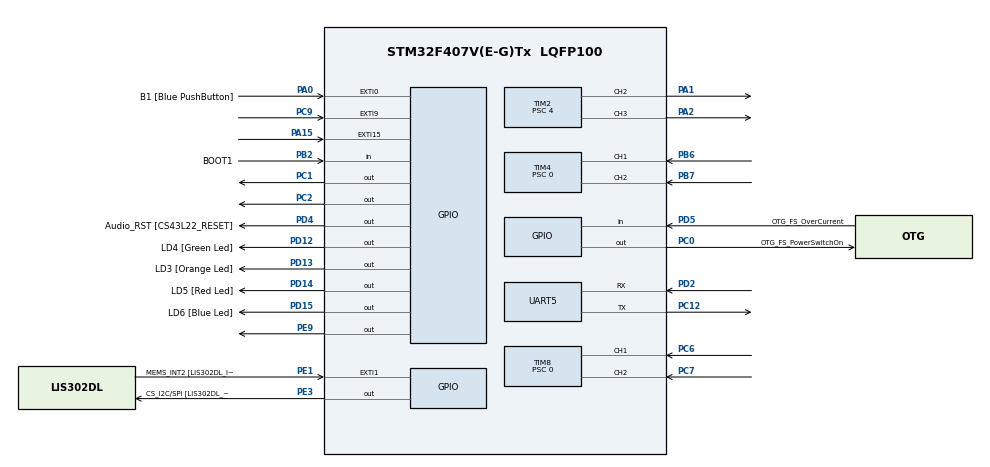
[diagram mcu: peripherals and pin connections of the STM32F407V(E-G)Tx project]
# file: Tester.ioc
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Mcu.Family=STM32F4
Mcu.Name=STM32F407V(E-G)Tx
Mcu.Package=LQFP100
NVIC.EXTI15_10_IRQn=true\:0\:0\:false\:false\:true\:true\:true\:true
NVIC.EXTI9_5_IRQn=true\:0\:0\:false\:false\:true\:true\:true\:true
NVIC.PriorityGroup=NVIC_PRIORITYGROUP_0
NVIC.TIM4_IRQn=true\:0\:0\:false\:false\:true\:true\:true\:true
PA0-WKUP.GPIO_Label=B1 [Blue PushButton]
PA0-WKUP.GPIO_ModeDefaultEXTI=GPIO_MODE_EVT_RISING
PA0-WKUP.GPIO_PuPd=GPIO_NOPULL
PA0-WKUP.Signal=GPXTI0
PA1.GPIO_PuPd=GPIO_NOPULL
PA1.GPIO_Speed=GPIO_SPEED_FREQ_VERY_HIGH
PA1.Signal=S_TIM2_CH2
PA13.GPIO_Label=SWDIO
PA13.Mode=Serial_Wire
PA13.Signal=SYS_JTMS-SWDIO
PA14.GPIO_Label=SWCLK
PA14.Mode=Serial_Wire
PA14.Signal=SYS_JTCK-SWCLK
PA15.GPIO_ModeDefaultEXTI=GPIO_MODE_IT_FALLING
PA15.GPIO_PuPd=GPIO_PULLUP
PA15.Signal=GPXTI15
PA2.GPIO_PuPd=GPIO_NOPULL
PA2.GPIO_Speed=GPIO_SPEED_FREQ_VERY_HIGH
PA2.Signal=S_TIM2_CH3
PB2.GPIO_Label=BOOT1
PB2.GPIO_Mode=GPIO_MODE_INPUT
PB2.GPIO_PuPd=GPIO_NOPULL
PB2.Signal=GPIO_Input
PB6.GPIO_PuPd=GPIO_PULLUP
PB6.GPIO_Speed=GPIO_SPEED_FREQ_VERY_HIGH
PB6.Signal=S_TIM4_CH1
PB7.GPIO_PuPd=GPIO_PULLUP
PB7.GPIO_Speed=GPIO_SPEED_FREQ_VERY_HIGH
PB7.Signal=S_TIM4_CH2
PC0.GPIO_Label=OTG_FS_PowerSwitchOn
PC0.GPIO_PuPd=GPIO_NOPULL
PC0.GPIO_Speed=GPIO_SPEED_FREQ_LOW
PC0.PinState=GPIO_PIN_SET
PC0.Signal=GPIO_Output
PC1.GPIO_ModeDefaultOutputPP=GPIO_MODE_OUTPUT_PP
PC1.GPIO_PuPd=GPIO_PULLDOWN
PC1.GPIO_Speed=GPIO_SPEED_FREQ_VERY_HIGH
PC1.PinState=GPIO_PIN_SET
PC1.Signal=GPIO_Output
PC12.Mode=Asynchronous
PC12.Signal=UART5_TX
PC14-OSC32_IN.GPIO_Label=PC14-OSC32_IN
PC14-OSC32_IN.Mode=LSE-External-Oscillator
PC14-OSC32_IN.Signal=RCC_OSC32_IN
PC15-OSC32_OUT.GPIO_Label=PC15-OSC32_OUT
PC15-OSC32_OUT.Mode=LSE-External-Oscillator
PC15-OSC32_OUT.Signal=RCC_OSC32_OUT
PC2.GPIO_ModeDefaultOutputPP=GPIO_MODE_OUTPUT_PP
PC2.GPIO_PuPd=GPIO_PULLDOWN
PC2.Signal=GPIO_Output
PC6.GPIO_PuPd=GPIO_PULLUP
PC6.GPIO_Speed=GPIO_SPEED_FREQ_VERY_HIGH
PC6.Signal=S_TIM8_CH1
PC7.GPIO_PuPd=GPIO_PULLUP
PC7.GPIO_Speed=GPIO_SPEED_FREQ_VERY_HIGH
PC7.Signal=S_TIM8_CH2
PC9.GPIO_ModeDefaultEXTI=GPIO_MODE_IT_FALLING
PC9.GPIO_PuPd=GPIO_PULLUP
PC9.Signal=GPXTI9
PD12.GPIO_Label=LD4 [Green Led]
PD12.GPIO_PuPd=GPIO_NOPULL
PD12.GPIO_Speed=GPIO_SPEED_FREQ_LOW
PD12.Signal=GPIO_Output
PD13.GPIO_Label=LD3 [Orange Led]
PD13.GPIO_PuPd=GPIO_NOPULL
PD13.GPIO_Speed=GPIO_SPEED_FREQ_LOW
PD13.Signal=GPIO_Output
PD14.GPIO_Label=LD5 [Red Led]
PD14.GPIO_PuPd=GPIO_NOPULL
PD14.GPIO_Speed=GPIO_SPEED_FREQ_LOW
PD14.Signal=GPIO_Output
PD15.GPIO_Label=LD6 [Blue Led]
PD15.GPIO_PuPd=GPIO_NOPULL
PD15.GPIO_Speed=GPIO_SPEED_FREQ_LOW
PD15.Signal=GPIO_Output
PD2.Mode=Asynchronous
PD2.Signal=UART5_RX
PD4.GPIO_Label=Audio_RST [CS43L22_RESET]
PD4.GPIO_PuPd=GPIO_NOPULL
PD4.GPIO_Speed=GPIO_SPEED_FREQ_LOW
PD4.Signal=GPIO_Output
PD5.GPIO_Label=OTG_FS_OverCurrent
PD5.GPIO_Mode=GPIO_MODE_INPUT
PD5.GPIO_PuPd=GPIO_NOPULL
PD5.Signal=GPIO_Input
PE1.GPIO_Label=MEMS_INT2 [LIS302DL_INT2]
PE1.GPIO_ModeDefaultEXTI=GPIO_MODE_EVT_RISING
PE1.GPIO_PuPd=GPIO_NOPULL
PE1.Signal=GPXTI1
PE3.GPIO_Label=CS_I2C/SPI [LIS302DL_CS_I2C/SPI]
PE3.GPIO_PuPd=GPIO_NOPULL
PE3.GPIO_Speed=GPIO_SPEED_FREQ_LOW
PE3.Signal=GPIO_Output
PE9.GPIO_ModeDefaultOutputPP=GPIO_MODE_OUTPUT_PP
PE9.GPIO_PuPd=GPIO_PULLDOWN
PE9.Signal=GPIO_Output
PH0-OSC_IN.GPIO_Label=PH0-OSC_IN
PH0-OSC_IN.Mode=HSE-External-Oscillator
PH0-OSC_IN.Signal=RCC_OSC_IN
PH1-OSC_OUT.GPIO_Label=PH1-OSC_OUT
PH1-OSC_OUT.Mode=HSE-External-Oscillator
PH1-OSC_OUT.Signal=RCC_OSC_OUT
ProjectManager.HeapSize=0x200
ProjectManager.StackSize=0x400
ProjectManager.TargetToolchain=STM32CubeIDE
RCC.48MHZClocksFreq_Value=48000000
RCC.AHBFreq_Value=168000000
RCC.APB1CLKDivider=RCC_HCLK_DIV4
RCC.APB1Freq_Value=42000000
RCC.APB1TimFreq_Value=84000000
RCC.APB2CLKDivider=RCC_HCLK_DIV2
RCC.APB2Freq_Value=84000000
RCC.APB2TimFreq_Value=168000000
RCC.CortexFreq_Value=168000000
RCC.HCLKFreq_Value=168000000
RCC.HSE_VALUE=8000000
RCC.HSI_VALUE=16000000
RCC.PLLM=8
RCC.PLLN=336
RCC.PLLQ=7
RCC.PLLSourceVirtual=RCC_PLLSOURCE_HSE
RCC.SYSCLKFreq_VALUE=168000000
RCC.SYSCLKSource=RCC_SYSCLKSOURCE_PLLCLK
RCC.VCOOutputFreq_Value=336000000
SH.S_TIM2_CH2.0=TIM2_CH2,PWM Generation2 CH2
SH.S_TIM2_CH3.0=TIM2_CH3,PWM Generation3 CH3
SH.S_TIM4_CH1.0=TIM4_CH1,Encoder_Interface
SH.S_TIM4_CH2.0=TIM4_CH2,Encoder_Interface
SH.S_TIM8_CH1.0=TIM8_CH1,Encoder_Interface
SH.S_TIM8_CH2.0=TIM8_CH2,Encoder_Interface
TIM2.Channel-PWM\ Generation2\ CH2=TIM_CHANNEL_2
TIM2.Channel-PWM\ Generation3\ CH3=TIM_CHANNEL_3
TIM2.Period=1000
TIM2.Prescaler=4
TIM4.AutoReloadPreload=TIM_AUTORELOAD_PRELOAD_DISABLE
TIM4.ClockDivision=TIM_CLOCKDIVISION_DIV1
TIM4.EncoderMode=TIM_ENCODERMODE_TI1
TIM4.IC1Filter=15
TIM4.IC1Prescaler=TIM_ICPSC_DIV1
TIM4.IC2Filter=15
TIM4.IC2Prescaler=TIM_ICPSC_DIV1
TIM4.Prescaler=0
TIM4.TIM_MasterOutputTrigger=TIM_TRGO_OC1
TIM5.Prescaler=42
TIM8.AutoReloadPreload=TIM_AUTORELOAD_PRELOAD_DISABLE
TIM8.ClockDivision=TIM_CLOCKDIVISION_DIV1
TIM8.IC1Filter=15
TIM8.IC1Prescaler=TIM_ICPSC_DIV1
TIM8.IC2Filter=15
TIM8.IC2Prescaler=TIM_ICPSC_DIV1
TIM8.Prescaler=0
UART5.VirtualMode=Asynchronous
VP_TIM2_VS_ClockSourceINT.Mode=Internal
VP_TIM5_VS_ClockSourceINT.Mode=Internal
board=STM32F407G-DISC1

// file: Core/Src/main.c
/* USER CODE BEGIN Header */
/**
  ******************************************************************************
  * @file           : main.c
  * @brief          : Main program body
  ******************************************************************************
  * @attention
  *
  * Copyright (c) 2022 STMicroelectronics.
  * All rights reserved.
  *
  * This software is licensed under terms that can be found in the LICENSE file
  * in the root directory of this software component.
  * If no LICENSE file comes with this software, it is provided AS-IS.
  *
  ******************************************************************************
  */
/* USER CODE END Header */
#include "main.h"
#include "tim.h"
#include "usart.h"
#include "gpio.h"

/* USER CODE BEGIN PV */

double l = 0.591;
double m = 0.117;
double M = 0.466;
//double dt = 0.02;
double g = 9.8;
double coef[] ={36.899038, 35.906461, 173.199145, 63.277879};
/* USER CODE END PV */

void SystemClock_Config(void);
/* USER CODE BEGIN PFP */
void moving_of_carriage(int32_t speed)
{
/***********************************************************************************
   Function for speed control of DC motor
   moving_of_carriage(0); // Stop moving
   moving_of_carriage(-number); // Right moving
   moving_of_carriage(+number); // Left moving

   Center is 32000 at TIM8 after calibration
   Left corner is Left edge position = 38000 tics at TIM8
   Right corner is Right edge position = 26000 tics at TIM8
***********************************************************************************/

  LL_GPIO_SetOutputPin(GPIOC, LL_GPIO_PIN_1); // Enable moving

  if (speed == 0)
  {
      LL_GPIO_ResetOutputPin(GPIOC, LL_GPIO_PIN_1); // Stop moving
      LL_TIM_OC_SetCompareCH3(TIM2, 0);             // Stop moving
      LL_TIM_OC_SetCompareCH2(TIM2, 0);             // Stop moving
  }
  else if (speed < 0)
  {
    if (speed < -500)
      speed = -500;
//    else if (speed > -70)
//    		speed = -70;

    LL_TIM_OC_SetCompareCH3(TIM2, 0);            // Right moving
    LL_TIM_OC_SetCompareCH2(TIM2, (-((int32_t)speed)) + 17);       // Right moving

  }
  else if (speed > 0)
  {
    if (speed > 500)
    		speed = 500;
//    else if (speed < 70)
//            speed = 70;

    LL_TIM_OC_SetCompareCH2(TIM2, 0);            // Left moving
    LL_TIM_OC_SetCompareCH3(TIM2, (uint32_t)(speed + 50));        // Left moving
  }

}
void Buzzer_Start(void)
{
	LL_GPIO_TogglePin(GPIOE, LL_GPIO_PIN_9);
	LL_mDelay(100);
	LL_GPIO_TogglePin(GPIOE, LL_GPIO_PIN_9);
	LL_mDelay(100);
	LL_GPIO_TogglePin(GPIOE, LL_GPIO_PIN_9);
	LL_mDelay(100);
	LL_GPIO_TogglePin(GPIOE, LL_GPIO_PIN_9);
	LL_mDelay(100);
}
void Buzzer_setpoint_selection(void)
{
	LL_GPIO_TogglePin(GPIOE, LL_GPIO_PIN_9);
	LL_mDelay(50);
	LL_GPIO_TogglePin(GPIOE, LL_GPIO_PIN_9);
	LL_mDelay(50);
	LL_GPIO_TogglePin(GPIOE, LL_GPIO_PIN_9);
	LL_mDelay(50);
	LL_GPIO_TogglePin(GPIOE, LL_GPIO_PIN_9);
	LL_mDelay(500);
	LL_GPIO_TogglePin(GPIOE, LL_GPIO_PIN_9);
	LL_mDelay(50);
	LL_GPIO_TogglePin(GPIOE, LL_GPIO_PIN_9);
	LL_mDelay(50);
	LL_GPIO_TogglePin(GPIOE, LL_GPIO_PIN_9);
	LL_mDelay(50);
	LL_GPIO_TogglePin(GPIOE, LL_GPIO_PIN_9);
	LL_mDelay(500);
	LL_GPIO_TogglePin(GPIOE, LL_GPIO_PIN_9);
	LL_mDelay(50);
	LL_GPIO_TogglePin(GPIOE, LL_GPIO_PIN_9);
	LL_mDelay(50);
	LL_GPIO_TogglePin(GPIOE, LL_GPIO_PIN_9);
	LL_mDelay(50);
	LL_GPIO_TogglePin(GPIOE, LL_GPIO_PIN_9);
	LL_mDelay(500);
	LL_GPIO_TogglePin(GPIOE, LL_GPIO_PIN_9);
	LL_mDelay(50);
	LL_GPIO_TogglePin(GPIOE, LL_GPIO_PIN_9);
	LL_mDelay(50);
	LL_GPIO_TogglePin(GPIOE, LL_GPIO_PIN_9);
	LL_mDelay(50);
	LL_GPIO_TogglePin(GPIOE, LL_GPIO_PIN_9);
	LL_mDelay(500);
}

void end_sensor_signal(void)
{
	LL_GPIO_SetOutputPin(GPIOD, LD4_Pin|LD3_Pin|LD5_Pin|LD6_Pin);
	LL_mDelay(300);
	LL_GPIO_ResetOutputPin(GPIOD, LD4_Pin|LD3_Pin|LD5_Pin|LD6_Pin);
	LL_mDelay(300);
	LL_GPIO_SetOutputPin(GPIOD, LD4_Pin|LD3_Pin|LD5_Pin|LD6_Pin);
	LL_mDelay(300);
	LL_GPIO_ResetOutputPin(GPIOD, LD4_Pin|LD3_Pin|LD5_Pin|LD6_Pin);
	LL_mDelay(300);
	LL_GPIO_TogglePin(GPIOE, LL_GPIO_PIN_9);
	LL_mDelay(150);
	LL_GPIO_TogglePin(GPIOE, LL_GPIO_PIN_9);
}
void calibration(void)
{
	  LL_GPIO_SetOutputPin(GPIOC, LL_GPIO_PIN_1); // Left moving
	  LL_TIM_OC_SetCompareCH2(TIM2,0);            // Left moving
	  LL_TIM_OC_SetCompareCH3(TIM2,40);           // Left moving
}
void getPosition(uint16_t* car, uint16_t* pend){
	*car = TIM8->CNT; // carridge
	*pend = TIM4->CNT; // pendulume
}

int32_t getCarriageSpeed(){
	TIM5->CNT = 0;
	uint16_t zeroPos = TIM8->CNT;
	while (zeroPos == TIM8->CNT);
	return TIM5->CNT * (TIM8->CNT - zeroPos);
}

int32_t getPendulumSpeed(){
	TIM5->CNT = 0;
	uint16_t zeroPos = TIM4->CNT;
	while (zeroPos == TIM4->CNT);
	return (1000000 / TIM5->CNT * (TIM4->CNT - zeroPos));
}

//double LQRControl(){
//	int32_t x = TIM8->CNT - 32000;
//	int32_t alp = TIM4->CNT - 32000;
//	LL_mDelay(20);
//	int32_t x_new = TIM8->CNT - 32000;
//	int32_t alp_new = TIM4->CNT - 32000;
//	double force = 0;
//	force = (x_new * coef[0] + (x_new - x) / dt * coef[1]) / 13000.0;
//	force += (((alp_new * coef[2] + (alp_new - alp) * coef[3]) / 1000.0) * 2) * 3.14;
//	double ac = 0;
//	ac = force / (M + m);
//	double speed = 0;
//	speed = (((x_new - x) / dt) /13000.0 + (ac * dt)) * 13000.0;
//	return speed;
//}

void mesureCarriageSpeed(){
	uint8_t flag;
			   // отослать данное назад

		  while ((UART5->SR & USART_SR_RXNE) == 0) {} // Ждем пустого регистра
				 flag = UART5->DR;

		  int32_t data = getCarriageSpeed(); // 0

		  while ((UART5->SR & USART_SR_TXE) == 0) {} // Ждем пустого регистра
				  UART5->DR = flag;
		  while ((UART5->SR & USART_SR_TXE) == 0) {} // Ждем пустого регистра
				UART5->DR = data & 0xFF;
		  while ((UART5->SR & USART_SR_TXE) == 0) {} // Ждем пустого регистра
				UART5->DR = (data>>8) & 0xFF;
		  while ((UART5->SR & USART_SR_TXE) == 0) {} // Ждем пустого регистра
				UART5->DR = (data>>16) & 0xFF;
		  while ((UART5->SR & USART_SR_TXE) == 0) {} // Ждем пустого регистра
				UART5->DR = (data>>24) & 0xFF;
}
/* USER CODE END PFP */

int main(void)
{

  /* MCU Configuration--------------------------------------------------------*/

  /* Reset of all peripherals, Initializes the Flash interface and the Systick. */
  LL_APB2_GRP1_EnableClock(LL_APB2_GRP1_PERIPH_SYSCFG);
  LL_APB1_GRP1_EnableClock(LL_APB1_GRP1_PERIPH_PWR);

  /* System interrupt init*/
  NVIC_SetPriorityGrouping(NVIC_PRIORITYGROUP_0);

  /* Configure the system clock */
  SystemClock_Config();

  /* Initialize all configured peripherals */
  MX_GPIO_Init();
  MX_TIM2_Init();
  MX_TIM4_Init();
  MX_TIM8_Init();
  MX_UART5_Init();
  MX_TIM5_Init();
  /* USER CODE BEGIN 2 */
//  Buzzer_Start();

  TIM4->CR1 |= (1<<0); // Start timer 4 to read encoder
  TIM8->CR1 |= (1<<0); // Start timer 8 to read encoder
  TIM5->CR1 |= (1<<0); // Start timer 3
  UART5->CR1 |= USART_CR1_TE | USART_CR1_RE ; // разрешаем приемник и передатчик
  LL_TIM_CC_EnableChannel(TIM2, LL_TIM_CHANNEL_CH2);
  LL_TIM_CC_EnableChannel(TIM2, LL_TIM_CHANNEL_CH3);
  LL_TIM_EnableCounter(TIM2);

  //LL_mDelay(1);
 // LL_GPIO_ResetOutputPin(GPIOC, LL_GPIO_PIN_1);// Stop moving
 // LL_mDelay(1);
  //LL_TIM_OC_SetCompareCH2(TIM2,0);            // Stop
  //LL_TIM_OC_SetCompareCH3(TIM2,0);           // Stop
  //LL_mDelay(1);

  // calibration();

// Old code for Analog-to-Digital Converter. When we tried to use circular potentiometers instead of encoders =)
//**************************************************************************************************************************************
  /*
   LL_ADC_Enable(ADC1); // Start of ADC 1 (ADC1->CR2 |= (1«0);)
   LL_ADC_REG_StartConversionSWStart(ADC1); // Sample from ADC
   while (LL_ADC_IsActiveFlag_EOCS(ADC1) != 1) {;} // Waiting for the end of the sample. When flag will be on
   LL_ADC_ClearFlag_EOCS(ADC1); // Make flag off to allow to make another ample
   setpoint = LL_ADC_REG_ReadConversionData12(ADC1); // Put data from ADC
   setpoint = setpoint/41;

   It was in while section:
   LL_ADC_REG_StartConversionSWStart(ADC1); // Sample from ADC
   while (LL_ADC_IsActiveFlag_EOCS(ADC1) != 1) {;} // Waiting for the end of the sample. When flag will be on
   LL_ADC_ClearFlag_EOCS(ADC1); // Make flag off to allow to make another ample
   ADC_1_data = LL_ADC_REG_ReadConversionData12(ADC1); // Put data from ADC
   ADC_1_data = ADC_1_data / 41;
  */
//**************************************************************************************************************************************

  /* USER CODE END 2 */

  /* Infinite loop */
  /* USER CODE BEGIN WHILE */
  Buzzer_Start();
//  TIM5->CNT = 0;
//  TIM8->CNT = 0;
//  moving_of_carriage(500);
//  LL_mDelay(100);
//  moving_of_carriage(0);
//  uint32_t t = TIM5->CNT;
//  uint32_t e = TIM8->CNT;

  while(abs(TIM4->CNT - 32000) != 500);
  TIM4->CNT = 32000;

//  uint32_t x = 0;
//  uint32_t last_x = 0;
//  uint32_t last_alp = 0;
//  uint32_t lastTimeMicros = 0;

  double PIDp_pend = 30;
  double PIDd_pend = 45;
  double PIDi_pend = 1.6;

//  double PIDp_car = 1;
//  double PIDd_car = 0;
//
  double speed = 0;
  uint32_t neededPos = 32000;
  double err = 0;
  double last_err = 0;
  int32_t last_speed = 0;
  int32_t sum_err = 0;
  double mean_speed[] = {0, 0, 0, 0, 0};
  double mean = 0;
//
//  double b = -18096.64;
//  double k = 766.94;
//  moving_of_carriage(70);
//  LL_mDelay(1000);
//  moving_of_carriage(0);
  while (1)
  {
// Encoders information:
// enc_carriage from edge to edge have 1365 ticks
// enc_pendulum have 1000 ticks for 1 full circle rotation
//	  	long now = TIM5->CNT;
//	  	double dt = 1.0 * (now - lastTimeMicros) / 2000000;
//		double x = (TIM8->CNT - 32000) * 1.0 * (3.14 * 0.012) / 1000;
//		double alp = (TIM4->CNT - 32000) * 1.0 * 2 * 3.14 / 1000;
//		double v = (x - last_x) / dt;
//		double w = (alp - last_alp) /dt;
//		double force = (x * coef[0] + v * coef[1] + alp * coef[2] + w * coef[3]);
//		double ac = force / (M + m);
//		double speed = (v + ac * dt) * 1000 / (3.14 * 0.012);
//		if (speed < 0)
//			speed = (speed - 179) / 57;
//		else
//			speed = (speed + 179) / 57;
//		moving_of_carriage(speed);
//
//		last_x = x;
//		last_alp = alp;
//		lastTimeMicros = now;
//		LL_mDelay(20);
//	  while(abs(TIM4->CNT - 32000) > 6 && abs(TIM8->CNT - 32000) < 3000){
		  while(abs(TIM4->CNT - 32000) != 500 && abs(TIM8->CNT - 32000) < 4500){
			  err = (double)(neededPos) - (double)(TIM4->CNT);
			  sum_err += err;
			  speed = PIDp_pend * err + PIDd_pend * (err - last_err) + PIDi_pend * sum_err;
			  mean_speed[0] = mean_speed[1];
			  mean_speed[1] = mean_speed[2];
			  mean_speed[2] = mean_speed[3];
			  mean_speed[3] = mean_speed[4];
			  mean_speed[4] = speed;

			  mean = (mean_speed[0] + mean_speed[1] + mean_speed[2] + mean_speed[3] + mean_speed[4]) / 5;
			  speed = rint(mean);
			  moving_of_carriage((int32_t)(speed));
			  last_err = err;
			  LL_mDelay(9);
		  }
		  moving_of_carriage(0);

//		  LL_mDelay(10);
//	  }
//	  LL_mDelay(10);
//	  while(abs(TIM8->CNT - 32000) > 10000 && abs(TIM4->CNT - 32000) < 8){
//		  last_err = err;
//		  err = neededPos - TIM8->CNT;
//		  int32_t speed = err * PIDp_car + (err - last_err) * PIDd_car;
//		  if (abs(speed) > 100)
//			  GPIOD->ODR |= (1<<15);
//		  else
//			  GPIOD->ODR &= ~(1<<15);
//		  moving_of_carriage(speed);
//	  }

//if (flag_from_interapt == 0)
//{
//	getPosition(&enc_carriage, &enc_pendulum);

/*
	PID_p = abs(((0.05 * (setpoint - ADC_1_data))));

	if (ADC_1_data==setpoint){LL_GPIO_ResetOutputPin(GPIOC, LL_GPIO_PIN_1);} else{LL_GPIO_SetOutputPin(GPIOC, LL_GPIO_PIN_1);}

	if (ADC_1_data>setpoint)
	{
		LL_TIM_OC_SetCompareCH2(TIM2,0);
		LL_TIM_OC_SetCompareCH3(TIM2, PID_p);
	}
	if(ADC_1_data<setpoint)
	{
		LL_TIM_OC_SetCompareCH3(TIM2,0);
		LL_TIM_OC_SetCompareCH2(TIM2, PID_p);
	}

	if (ADC_1_data==0) // Если маятник упал
	{
	flag_from_interapt = 1;
	LL_GPIO_SetOutputPin(GPIOC, LL_GPIO_PIN_2);
	LL_TIM_OC_SetCompareCH3(TIM2,100);
	LL_GPIO_SetOutputPin(GPIOD, LD4_Pin|LD3_Pin|LD5_Pin|LD6_Pin);
	}
	*/

//}

	// Moving test
	/*
	LL_mDelay(4000);
	LL_GPIO_SetOutputPin(GPIOC, LL_GPIO_PIN_1); // Enable moving
 // LL_GPIO_SetOutputPin(GPIOC, LL_GPIO_PIN_1); // Restrict moving
	LL_TIM_OC_SetCompareCH3(TIM2,0);            // Right moving
	LL_TIM_OC_SetCompareCH2(TIM2,30);           // Right moving
	LL_mDelay(600);
	LL_TIM_OC_SetCompareCH2(TIM2,0);            // Left moving
	LL_TIM_OC_SetCompareCH3(TIM2,30);           // Left moving
	LL_mDelay(1000000);
	*/

//	  LL_GPIO_ResetOutputPin(GPIOC, LL_GPIO_PIN_1);
//	  LL_mDelay(1000000);
    /* USER CODE END WHILE */

  }
}

void SystemClock_Config(void)
{
  LL_FLASH_SetLatency(LL_FLASH_LATENCY_5);
  while(LL_FLASH_GetLatency()!= LL_FLASH_LATENCY_5)
  {
  }
  LL_PWR_SetRegulVoltageScaling(LL_PWR_REGU_VOLTAGE_SCALE1);
  LL_RCC_HSE_Enable();

   /* Wait till HSE is ready */
  while(LL_RCC_HSE_IsReady() != 1)
  {

  }
  LL_RCC_PLL_ConfigDomain_SYS(LL_RCC_PLLSOURCE_HSE, LL_RCC_PLLM_DIV_8, 336, LL_RCC_PLLP_DIV_2);
  LL_RCC_PLL_Enable();

   /* Wait till PLL is ready */
  while(LL_RCC_PLL_IsReady() != 1)
  {

  }
  LL_RCC_SetAHBPrescaler(LL_RCC_SYSCLK_DIV_1);
  LL_RCC_SetAPB1Prescaler(LL_RCC_APB1_DIV_4);
  LL_RCC_SetAPB2Prescaler(LL_RCC_APB2_DIV_2);
  LL_RCC_SetSysClkSource(LL_RCC_SYS_CLKSOURCE_PLL);

   /* Wait till System clock is ready */
  while(LL_RCC_GetSysClkSource() != LL_RCC_SYS_CLKSOURCE_STATUS_PLL)
  {

  }
  LL_Init1msTick(168000000);
  LL_SetSystemCoreClock(168000000);
}

void Error_Handler(void)
{
  __disable_irq();
  while (1)
  {
  }
}
